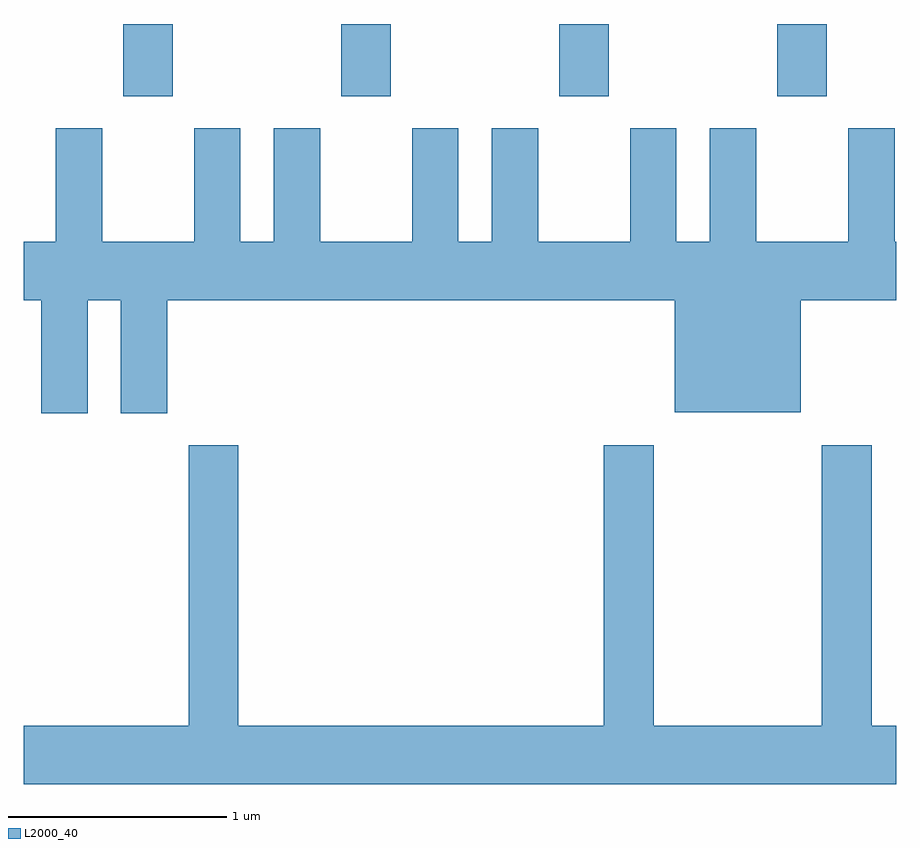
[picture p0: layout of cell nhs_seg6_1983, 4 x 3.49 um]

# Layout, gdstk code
import gdstk
lib = gdstk.Library(unit=1e-6, precision=1e-09)
def R(c, l, rs):  # rectangles x0, y0, x1, y1
    for r in rs: c.add(gdstk.rectangle(r[:2], r[2:], *l))
def A(c, l, x, y, w, h, nx, ny, dx, dy):  # array of equal rectangles
    R(c, l, [(x+i*dx, y+j*dy, x+i*dx+w, y+j*dy+h) for i in range(nx) for j in range(ny)])
def P(c, l, *ps):  # polygons
    for p in ps: c.add(gdstk.Polygon(p, *l))
L2000_40 = (2000, 40)

nhs_seg6_1983 = lib.new_cell('nhs_seg6_1983')
A(nhs_seg6_1983, L2000_40, 246.066, 1579.831, 0.228, 0.331, 4, 1, 1, 0)
P(nhs_seg6_1983, L2000_40, [(245.904,1578.896),(246.056,1578.896),(246.056,1578.376),(246.269,1578.376),(246.269,1578.896),(248.596,1578.896),(248.596,1578.381),(249.174,1578.381),(249.174,1578.896),(249.611,1578.896),(249.611,1579.164),(249.604,1579.164),(249.604,1579.684),(249.391,1579.684),(249.391,1579.164),(248.969,1579.164),(248.969,1579.684),(248.756,1579.684),(248.756,1579.164),(248.604,1579.164),(248.604,1579.684),(248.391,1579.684),(248.391,1579.164),(247.969,1579.164),(247.969,1579.684),(247.756,1579.684),(247.756,1579.164),(247.604,1579.164),(247.604,1579.684),(247.391,1579.684),(247.391,1579.164),(246.969,1579.164),(246.969,1579.684),(246.756,1579.684),(246.756,1579.164),(246.604,1579.164),(246.604,1579.684),(246.391,1579.684),(246.391,1579.164),(245.969,1579.164),(245.969,1579.684),(245.756,1579.684),(245.756,1579.164),(245.611,1579.164),(245.611,1578.896),(245.691,1578.896),(245.691,1578.376),(245.904,1578.376)],
  [(249.611,1576.944),(249.499,1576.944),(249.499,1578.229),(249.271,1578.229),(249.271,1576.944),(248.499,1576.944),(248.499,1578.229),(248.271,1578.229),(248.271,1576.944),(246.594,1576.944),(246.594,1578.229),(246.366,1578.229),(246.366,1576.944),(245.611,1576.944),(245.611,1576.676),(249.611,1576.676)])

lib.write_gds('nhs_seg6_1983.gds')
